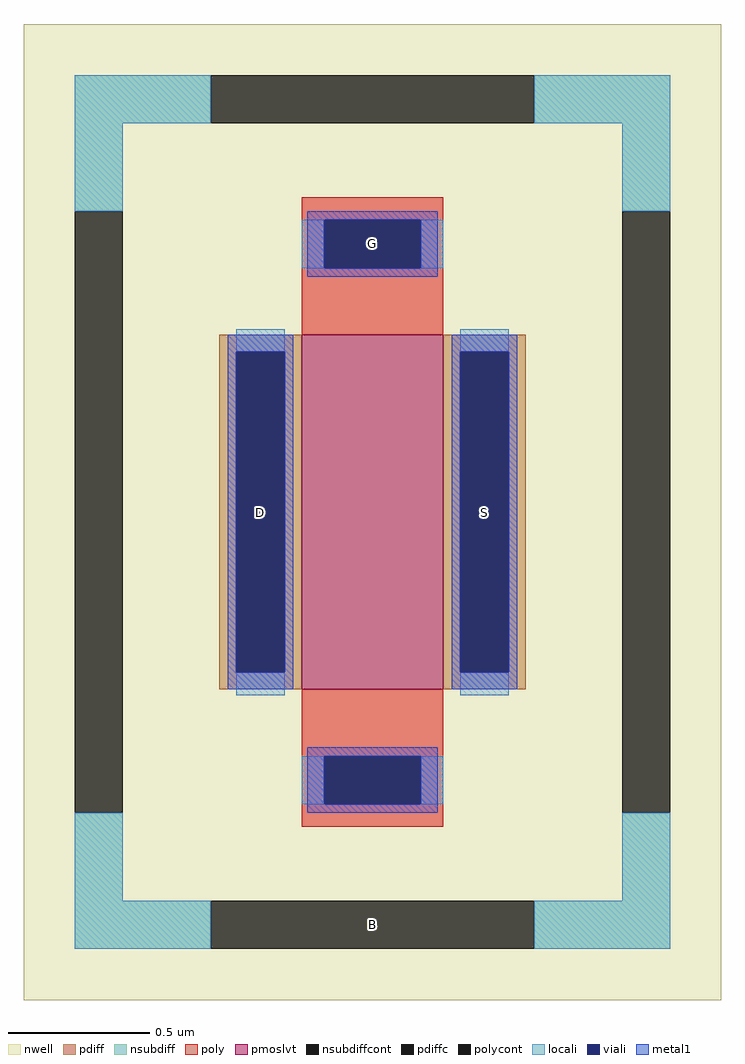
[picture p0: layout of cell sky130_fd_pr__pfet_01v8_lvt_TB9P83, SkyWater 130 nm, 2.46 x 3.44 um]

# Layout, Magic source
magic
tech sky130A
magscale 1 2
<< nwell >>
rect -246 -344 246 344
<< pmoslvt >>
rect -50 -125 50 125
<< pdiff >>
rect -108 113 -50 125
rect -108 -113 -96 113
rect -62 -113 -50 113
rect -108 -125 -50 -113
rect 50 113 108 125
rect 50 -113 62 113
rect 96 -113 108 113
rect 50 -125 108 -113
<< pdiffc >>
rect -96 -113 -62 113
rect 62 -113 96 113
<< nsubdiff >>
rect -210 274 -114 308
rect 114 274 210 308
rect -210 212 -176 274
rect 176 212 210 274
rect -210 -274 -176 -212
rect 176 -274 210 -212
rect -210 -308 -114 -274
rect 114 -308 210 -274
<< nsubdiffcont >>
rect -114 274 114 308
rect -210 -212 -176 212
rect 176 -212 210 212
rect -114 -308 114 -274
<< poly >>
rect -50 206 50 222
rect -50 172 -34 206
rect 34 172 50 206
rect -50 125 50 172
rect -50 -172 50 -125
rect -50 -206 -34 -172
rect 34 -206 50 -172
rect -50 -222 50 -206
<< polycont >>
rect -34 172 34 206
rect -34 -206 34 -172
<< locali >>
rect -210 274 -114 308
rect 114 274 210 308
rect -210 212 -176 274
rect 176 212 210 274
rect -50 172 -34 206
rect 34 172 50 206
rect -96 113 -62 129
rect -96 -129 -62 -113
rect 62 113 96 129
rect 62 -129 96 -113
rect -50 -206 -34 -172
rect 34 -206 50 -172
rect -210 -274 -176 -212
rect 176 -274 210 -212
rect -210 -308 -114 -274
rect 114 -308 210 -274
<< viali >>
rect -34 172 34 206
rect -96 -113 -62 113
rect 62 -113 96 113
rect -34 -206 34 -172
<< metal1 >>
rect -46 206 46 212
rect -46 172 -34 206
rect 34 172 46 206
rect -46 166 46 172
rect -102 113 -56 125
rect -102 -113 -96 113
rect -62 -113 -56 113
rect -102 -125 -56 -113
rect 56 113 102 125
rect 56 -113 62 113
rect 96 -113 102 113
rect 56 -125 102 -113
rect -46 -172 46 -166
rect -46 -206 -34 -172
rect 34 -206 46 -172
rect -46 -212 46 -206
<< labels >>
rlabel nsubdiffcont 0 -291 0 -291 0 B
port 1 nsew
rlabel pdiffc -79 0 -79 0 0 D
port 2 nsew
rlabel pdiffc 79 0 79 0 0 S
port 3 nsew
rlabel polycont 0 189 0 189 0 G
port 4 nsew
<< properties >>
string FIXED_BBOX -193 -291 193 291
string gencell sky130_fd_pr__pfet_01v8_lvt
string library sky130
string parameters w 1.25 l 0.5 m 1 nf 1 diffcov 100 polycov 100 guard 1 glc 1 grc 1 gtc 1 gbc 1 tbcov 100 rlcov 100 topc 1 botc 1 poverlap 0 doverlap 1 lmin 0.35 wmin 0.42 class mosfet compatible {sky130_fd_pr__pfet_01v8  sky130_fd_pr__pfet_01v8_lvt sky130_fd_pr__pfet_01v8_hvt  sky130_fd_pr__pfet_g5v0d10v5} full_metal 1 conn_gates 0 viasrc 100 viadrn 100 viagate 100 viagb 0 viagr 0 viagl 0 viagt 0 doports 1
<< end >>
